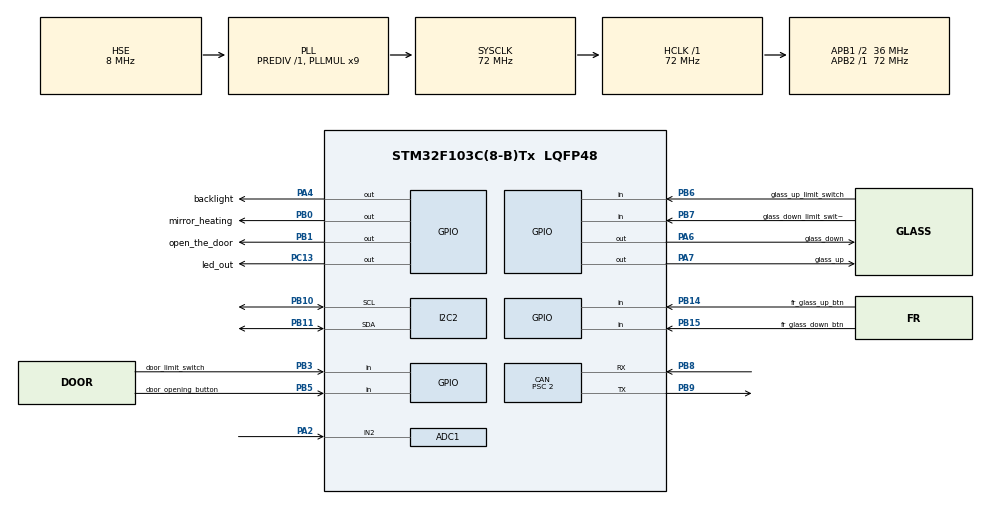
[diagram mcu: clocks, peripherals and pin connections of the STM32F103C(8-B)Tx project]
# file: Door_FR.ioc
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ADC1.Channel-1\#ChannelInjectedConversion=ADC_CHANNEL_2
ADC1.EnableInjectedConversion=ENABLE
ADC1.EnableRegularConversion=DISABLE
ADC1.InjNumberOfConversion=1
ADC1.InjectedOffset-1\#ChannelInjectedConversion=0
ADC1.InjectedRank-1\#ChannelInjectedConversion=1
ADC1.SamplingTime-1\#ChannelInjectedConversion=ADC_SAMPLETIME_239CYCLES_5
ADC1.master=1
CAN.BS1=CAN_BS1_15TQ
CAN.BS2=CAN_BS2_2TQ
CAN.CalculateBaudRate=1000000
CAN.CalculateTimeBit=1000
CAN.CalculateTimeQuantum=55.55555555555556
CAN.Mode=CAN_MODE_NORMAL
CAN.Prescaler=2
FREERTOS.INCLUDE_vTaskDelete=0
FREERTOS.Tasks01=defaultTask,0,128,StartDefaultTask,Default,NULL,Dynamic,NULL,NULL;Display,0,256,ProctDisplay,Default,NULL,Dynamic,NULL,NULL;ButtonRead,0,128,ProctButtonRead,Default,NULL,Dynamic,NULL,NULL;Outputs,-3,128,ProctOutputs,Default,NULL,Dynamic,NULL,NULL;Backlight,0,128,ProctBacklight,Default,NULL,Dynamic,NULL,NULL;FoldingMirrors,0,128,ProctFoldingMirrors,Default,NULL,Dynamic,NULL,NULL;Can,0,128,ProcCan,Default,NULL,Dynamic,NULL,NULL
FREERTOS.configGENERATE_RUN_TIME_STATS=1
FREERTOS.configMINIMAL_STACK_SIZE=128
FREERTOS.configTOTAL_HEAP_SIZE=10240
FREERTOS.configUSE_IDLE_HOOK=1
FREERTOS.configUSE_STATS_FORMATTING_FUNCTIONS=1
FREERTOS.configUSE_TRACE_FACILITY=1
I2C2.I2C_Mode=I2C_Fast
Mcu.Family=STM32F1
Mcu.Name=STM32F103C(8-B)Tx
Mcu.Package=LQFP48
NVIC.ADC1_2_IRQn=true\:5\:0\:false\:false\:true\:true\:true\:true\:true
NVIC.PriorityGroup=NVIC_PRIORITYGROUP_4
NVIC.TIM4_IRQn=true\:15\:0\:false\:false\:true\:false\:false\:true\:true
NVIC.TimeBase=TIM4_IRQn
NVIC.TimeBaseIP=TIM4
NVIC.USB_LP_CAN1_RX0_IRQn=true\:5\:0\:false\:false\:true\:true\:true\:true\:true
PA13.Mode=Serial_Wire
PA13.Signal=SYS_JTMS-SWDIO
PA14.Mode=Serial_Wire
PA14.Signal=SYS_JTCK-SWCLK
PA2.Signal=ADCx_IN2
PA4.GPIO_Label=backlight
PA4.GPIO_PuPd=GPIO_PULLDOWN
PA4.Signal=GPIO_Output
PA6.GPIO_Label=glass_down
PA6.GPIO_ModeDefaultOutputPP=GPIO_MODE_OUTPUT_PP
PA6.GPIO_PuPd=GPIO_PULLDOWN
PA6.GPIO_Speed=GPIO_SPEED_FREQ_LOW
PA6.PinState=GPIO_PIN_RESET
PA6.Signal=GPIO_Output
PA7.GPIO_Label=glass_up
PA7.GPIO_ModeDefaultOutputPP=GPIO_MODE_OUTPUT_PP
PA7.GPIO_PuPd=GPIO_PULLDOWN
PA7.GPIO_Speed=GPIO_SPEED_FREQ_LOW
PA7.PinState=GPIO_PIN_RESET
PA7.Signal=GPIO_Output
PB0.GPIO_Label=mirror_heating
PB0.GPIO_ModeDefaultOutputPP=GPIO_MODE_OUTPUT_PP
PB0.GPIO_PuPd=GPIO_PULLDOWN
PB0.GPIO_Speed=GPIO_SPEED_FREQ_LOW
PB0.PinState=GPIO_PIN_RESET
PB0.Signal=GPIO_Output
PB1.GPIO_Label=open_the_door
PB1.GPIO_ModeDefaultOutputPP=GPIO_MODE_OUTPUT_PP
PB1.GPIO_PuPd=GPIO_PULLDOWN
PB1.GPIO_Speed=GPIO_SPEED_FREQ_LOW
PB1.PinState=GPIO_PIN_RESET
PB1.Signal=GPIO_Output
PB10.Mode=I2C
PB10.Signal=I2C2_SCL
PB11.Mode=I2C
PB11.Signal=I2C2_SDA
PB14.GPIO_Label=fr_glass_up_btn
PB14.GPIO_PuPd=GPIO_PULLUP
PB14.Signal=GPIO_Input
PB15.GPIO_Label=fr_glass_down_btn
PB15.GPIO_PuPd=GPIO_PULLUP
PB15.Signal=GPIO_Input
PB3.GPIO_Label=door_limit_switch
PB3.GPIO_PuPd=GPIO_PULLUP
PB3.Signal=GPIO_Input
PB5.GPIO_Label=door_opening_button
PB5.GPIO_PuPd=GPIO_PULLUP
PB5.Signal=GPIO_Input
PB6.GPIO_Label=glass_up_limit_switch
PB6.GPIO_PuPd=GPIO_PULLUP
PB6.Signal=GPIO_Input
PB7.GPIO_Label=glass_down_limit_switch
PB7.GPIO_PuPd=GPIO_PULLUP
PB7.Signal=GPIO_Input
PB8.Mode=CAN_Activate
PB8.Signal=CAN_RX
PB9.Mode=CAN_Activate
PB9.Signal=CAN_TX
PC13-TAMPER-RTC.GPIO_Label=led_out
PC13-TAMPER-RTC.GPIO_PuPd=GPIO_PULLUP
PC13-TAMPER-RTC.PinState=GPIO_PIN_SET
PC13-TAMPER-RTC.Signal=GPIO_Output
PD0-OSC_IN.Mode=HSE-External-Oscillator
PD0-OSC_IN.Signal=RCC_OSC_IN
PD1-OSC_OUT.Mode=HSE-External-Oscillator
PD1-OSC_OUT.Signal=RCC_OSC_OUT
ProjectManager.HeapSize=0x200
ProjectManager.StackSize=0x400
ProjectManager.TargetToolchain=MDK-ARM V5.32
RCC.ADCPresc=RCC_ADCPCLK2_DIV6
RCC.AHBFreq_Value=72000000
RCC.APB1CLKDivider=RCC_HCLK_DIV2
RCC.APB1Freq_Value=36000000
RCC.APB1TimFreq_Value=72000000
RCC.APB2Freq_Value=72000000
RCC.APB2TimFreq_Value=72000000
RCC.HCLKFreq_Value=72000000
RCC.PLLMUL=RCC_PLL_MUL9
RCC.PLLSourceVirtual=RCC_PLLSOURCE_HSE
RCC.SYSCLKFreq_VALUE=72000000
RCC.SYSCLKSource=RCC_SYSCLKSOURCE_PLLCLK
RCC.USBFreq_Value=72000000
SH.ADCx_IN2.0=ADC1_IN2,IN2
VP_FREERTOS_VS_CMSIS_V1.Mode=CMSIS_V1
VP_SYS_VS_tim4.Mode=TIM4
board=custom

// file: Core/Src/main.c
/* USER CODE BEGIN Header */
/**
  ******************************************************************************
  * @file           : main.c
  * @brief          : Main program body
  ******************************************************************************
  * @attention
  *
  * Copyright (c) 2022 STMicroelectronics.
  * All rights reserved.
  *
  * This software is licensed under terms that can be found in the LICENSE file
  * in the root directory of this software component.
  * If no LICENSE file comes with this software, it is provided AS-IS.
  *
  ******************************************************************************
  */
/* USER CODE END Header */
#include "main.h"
#include "cmsis_os.h"

/* USER CODE BEGIN Includes */
#include <stdio.h>
#include <stdbool.h>
//#include "ssd1306.h"
#include "string.h"
/* USER CODE END Includes */

/* USER CODE BEGIN PD */
#define fr_motor_current 12

#define glass_Stop 0
#define glass_Up 1
#define glass_Down 2
#define glass_btn_time 15

//#define fr_glass_Stop 20
//#define fr_glass_Up 21
//#define fr_glass_Down 22

#define glass_closer_On 23
#define glass_closer_Ok 24

#define glass_blocking_On 25
#define glass_blocking_Off 26

//#define mirror_heating_On 21
//#define mirror_heating_Off 20

/* USER CODE END PD */

ADC_HandleTypeDef hadc1;

CAN_HandleTypeDef hcan;

I2C_HandleTypeDef hi2c2;

osThreadId defaultTaskHandle;
osThreadId DisplayHandle;
osThreadId ButtonReadHandle;
osThreadId OutputsHandle;
osThreadId BacklightHandle;
osThreadId FoldingMirrorsHandle;
osThreadId CanHandle;
/* USER CODE BEGIN PV */
CAN_TxHeaderTypeDef TxHeader;
CAN_RxHeaderTypeDef RxHeader;
uint8_t TxData[8] = {255, 255, 255,};
uint8_t RxData[8] = {255, 255, 255,};
uint32_t TxMailbox = 0;
#define can_addr_door_fl 0x0001
#define can_addr_door_fr 0x0002
bool Can_Rx = 0;

bool adc1_flag = 0;
float adc1_value = 0, current = 0;

uint8_t fr_glass = 0;

bool glass_blocking = 0, glass_closer_on = 0;
uint16_t fr_glass_btn_time = 0;
uint16_t btn_click_up = 0;
/* USER CODE END PV */

void SystemClock_Config(void);
static void MX_GPIO_Init(void);
static void MX_I2C2_Init(void);
static void MX_ADC1_Init(void);
static void MX_CAN_Init(void);
void StartDefaultTask(void const * argument);
void ProctDisplay(void const * argument);
void ProctButtonRead(void const * argument);
void ProctOutputs(void const * argument);
void ProctBacklight(void const * argument);
void ProctFoldingMirrors(void const * argument);
void ProcCan(void const * argument);

/* USER CODE BEGIN 0 */
void HAL_ADCEx_InjectedConvCpltCallback(ADC_HandleTypeDef *hadc) {
	if(hadc->Instance == ADC1){
		adc1_value = HAL_ADCEx_InjectedGetValue(&hadc1, ADC_INJECTED_RANK_1);
		current = (adc1_value*40.0f)/4095;
		adc1_flag = 1;
	}
}

void HAL_CAN_RxFifo0MsgPendingCallback(CAN_HandleTypeDef *hcan)
{
	if(HAL_CAN_GetRxMessage(hcan, CAN_RX_FIFO0, &RxHeader, RxData) == HAL_OK)
  {
		if(RxHeader.StdId == can_addr_door_fr) Can_Rx = 1;
	}
}

void HAL_CAN_ErrorCallback(CAN_HandleTypeDef *hcan)
{
    uint32_t er = HAL_CAN_GetError(hcan);
}
/* USER CODE END 0 */

int main(void)
{

  /* MCU Configuration--------------------------------------------------------*/

  /* Reset of all peripherals, Initializes the Flash interface and the Systick. */
  HAL_Init();

  /* Configure the system clock */
  SystemClock_Config();

  /* Initialize all configured peripherals */
  MX_GPIO_Init();
  MX_I2C2_Init();
  MX_ADC1_Init();
  MX_CAN_Init();
  /* USER CODE BEGIN 2 */
	HAL_ADCEx_Calibration_Start(&hadc1);
	HAL_ADCEx_InjectedStart_IT(&hadc1);

	TxHeader.StdId = can_addr_door_fl;
	TxHeader.ExtId = 0;
	TxHeader.RTR = CAN_RTR_DATA; //CAN_RTR_REMOTE
	TxHeader.IDE = CAN_ID_STD;   // CAN_ID_EXT
	TxHeader.DLC = 8;
	TxHeader.TransmitGlobalTime = 0;

	HAL_CAN_Start(&hcan);
	HAL_CAN_ActivateNotification(&hcan, CAN_IT_RX_FIFO0_MSG_PENDING | CAN_IT_ERROR | CAN_IT_BUSOFF | CAN_IT_LAST_ERROR_CODE);

	GPIOA->BRR = glass_up_Pin; // реле подьема стекла выкл
	GPIOA->BRR = glass_down_Pin; // реле подьема стекла выкл
	GPIOA->BRR = open_the_door_Pin; // реле открытия двери выкл
	GPIOA->BRR = mirror_heating_Pin; // реле обогрева зеркал выкл
  /* USER CODE END 2 */

  /* Create the thread(s) */
  /* definition and creation of defaultTask */
  osThreadDef(defaultTask, StartDefaultTask, osPriorityNormal, 0, 128);
  defaultTaskHandle = osThreadCreate(osThread(defaultTask), NULL);

  /* definition and creation of Display */
  osThreadDef(Display, ProctDisplay, osPriorityNormal, 0, 256);
  DisplayHandle = osThreadCreate(osThread(Display), NULL);

  /* definition and creation of ButtonRead */
  osThreadDef(ButtonRead, ProctButtonRead, osPriorityNormal, 0, 128);
  ButtonReadHandle = osThreadCreate(osThread(ButtonRead), NULL);

  /* definition and creation of Outputs */
  osThreadDef(Outputs, ProctOutputs, osPriorityIdle, 0, 128);
  OutputsHandle = osThreadCreate(osThread(Outputs), NULL);

  /* definition and creation of Backlight */
  osThreadDef(Backlight, ProctBacklight, osPriorityNormal, 0, 128);
  BacklightHandle = osThreadCreate(osThread(Backlight), NULL);

  /* definition and creation of FoldingMirrors */
  osThreadDef(FoldingMirrors, ProctFoldingMirrors, osPriorityNormal, 0, 128);
  FoldingMirrorsHandle = osThreadCreate(osThread(FoldingMirrors), NULL);

  /* definition and creation of Can */
  osThreadDef(Can, ProcCan, osPriorityNormal, 0, 128);
  CanHandle = osThreadCreate(osThread(Can), NULL);

  /* Start scheduler */
  osKernelStart();

  /* We should never get here as control is now taken by the scheduler */
  /* Infinite loop */
  while (1)
  {

  }
}

void SystemClock_Config(void)
{
  RCC_OscInitTypeDef RCC_OscInitStruct = {0};
  RCC_ClkInitTypeDef RCC_ClkInitStruct = {0};
  RCC_PeriphCLKInitTypeDef PeriphClkInit = {0};

  /** Initializes the RCC Oscillators according to the specified parameters
  * in the RCC_OscInitTypeDef structure.
  */
  RCC_OscInitStruct.OscillatorType = RCC_OSCILLATORTYPE_HSE;
  RCC_OscInitStruct.HSEState = RCC_HSE_ON;
  RCC_OscInitStruct.HSEPredivValue = RCC_HSE_PREDIV_DIV1;
  RCC_OscInitStruct.HSIState = RCC_HSI_ON;
  RCC_OscInitStruct.PLL.PLLState = RCC_PLL_ON;
  RCC_OscInitStruct.PLL.PLLSource = RCC_PLLSOURCE_HSE;
  RCC_OscInitStruct.PLL.PLLMUL = RCC_PLL_MUL9;
  if (HAL_RCC_OscConfig(&RCC_OscInitStruct) != HAL_OK)
  {
    Error_Handler();
  }

  /** Initializes the CPU, AHB and APB buses clocks
  */
  RCC_ClkInitStruct.ClockType = RCC_CLOCKTYPE_HCLK|RCC_CLOCKTYPE_SYSCLK
                              |RCC_CLOCKTYPE_PCLK1|RCC_CLOCKTYPE_PCLK2;
  RCC_ClkInitStruct.SYSCLKSource = RCC_SYSCLKSOURCE_PLLCLK;
  RCC_ClkInitStruct.AHBCLKDivider = RCC_SYSCLK_DIV1;
  RCC_ClkInitStruct.APB1CLKDivider = RCC_HCLK_DIV2;
  RCC_ClkInitStruct.APB2CLKDivider = RCC_HCLK_DIV1;

  if (HAL_RCC_ClockConfig(&RCC_ClkInitStruct, FLASH_LATENCY_2) != HAL_OK)
  {
    Error_Handler();
  }
  PeriphClkInit.PeriphClockSelection = RCC_PERIPHCLK_ADC;
  PeriphClkInit.AdcClockSelection = RCC_ADCPCLK2_DIV6;
  if (HAL_RCCEx_PeriphCLKConfig(&PeriphClkInit) != HAL_OK)
  {
    Error_Handler();
  }
}

static void MX_ADC1_Init(void)
{

  ADC_InjectionConfTypeDef sConfigInjected = {0};

  /** Common config
  */
  hadc1.Instance = ADC1;
  hadc1.Init.ScanConvMode = ADC_SCAN_DISABLE;
  hadc1.Init.ContinuousConvMode = DISABLE;
  hadc1.Init.DiscontinuousConvMode = DISABLE;
  hadc1.Init.ExternalTrigConv = ADC_SOFTWARE_START;
  hadc1.Init.DataAlign = ADC_DATAALIGN_RIGHT;
  hadc1.Init.NbrOfConversion = 1;
  if (HAL_ADC_Init(&hadc1) != HAL_OK)
  {
    Error_Handler();
  }

  /** Configure Injected Channel
  */
  sConfigInjected.InjectedChannel = ADC_CHANNEL_2;
  sConfigInjected.InjectedRank = ADC_INJECTED_RANK_1;
  sConfigInjected.InjectedNbrOfConversion = 1;
  sConfigInjected.InjectedSamplingTime = ADC_SAMPLETIME_239CYCLES_5;
  sConfigInjected.ExternalTrigInjecConv = ADC_INJECTED_SOFTWARE_START;
  sConfigInjected.AutoInjectedConv = DISABLE;
  sConfigInjected.InjectedDiscontinuousConvMode = DISABLE;
  sConfigInjected.InjectedOffset = 0;
  if (HAL_ADCEx_InjectedConfigChannel(&hadc1, &sConfigInjected) != HAL_OK)
  {
    Error_Handler();
  }

}

static void MX_CAN_Init(void)
{

  /* USER CODE BEGIN CAN_Init 0 */
	CAN_FilterTypeDef  sFilterConfig;
  /* USER CODE END CAN_Init 0 */

  hcan.Instance = CAN1;
  hcan.Init.Prescaler = 2;
  hcan.Init.Mode = CAN_MODE_NORMAL;
  hcan.Init.SyncJumpWidth = CAN_SJW_1TQ;
  hcan.Init.TimeSeg1 = CAN_BS1_15TQ;
  hcan.Init.TimeSeg2 = CAN_BS2_2TQ;
  hcan.Init.TimeTriggeredMode = DISABLE;
  hcan.Init.AutoBusOff = DISABLE;
  hcan.Init.AutoWakeUp = DISABLE;
  hcan.Init.AutoRetransmission = DISABLE;
  hcan.Init.ReceiveFifoLocked = DISABLE;
  hcan.Init.TransmitFifoPriority = DISABLE;
  if (HAL_CAN_Init(&hcan) != HAL_OK)
  {
    Error_Handler();
  }
  /* USER CODE BEGIN CAN_Init 2 */
	sFilterConfig.FilterBank = 0;
	sFilterConfig.FilterMode = CAN_FILTERMODE_IDMASK;
	sFilterConfig.FilterScale = CAN_FILTERSCALE_32BIT;
	sFilterConfig.FilterIdHigh = 0x0000;
	sFilterConfig.FilterIdLow = 0x0000;
	sFilterConfig.FilterMaskIdHigh = 0x0000;
	sFilterConfig.FilterMaskIdLow = 0x0000;
	sFilterConfig.FilterFIFOAssignment = CAN_RX_FIFO0;
	sFilterConfig.FilterActivation = ENABLE;
	//sFilterConfig.SlaveStartFilterBank = 14;

	if(HAL_CAN_ConfigFilter(&hcan, &sFilterConfig) != HAL_OK)
	{
	Error_Handler();
	}
  /* USER CODE END CAN_Init 2 */

}

static void MX_I2C2_Init(void)
{

  hi2c2.Instance = I2C2;
  hi2c2.Init.ClockSpeed = 400000;
  hi2c2.Init.DutyCycle = I2C_DUTYCYCLE_2;
  hi2c2.Init.OwnAddress1 = 0;
  hi2c2.Init.AddressingMode = I2C_ADDRESSINGMODE_7BIT;
  hi2c2.Init.DualAddressMode = I2C_DUALADDRESS_DISABLE;
  hi2c2.Init.OwnAddress2 = 0;
  hi2c2.Init.GeneralCallMode = I2C_GENERALCALL_DISABLE;
  hi2c2.Init.NoStretchMode = I2C_NOSTRETCH_DISABLE;
  if (HAL_I2C_Init(&hi2c2) != HAL_OK)
  {
    Error_Handler();
  }

}

static void MX_GPIO_Init(void)
{
  GPIO_InitTypeDef GPIO_InitStruct = {0};

  /* GPIO Ports Clock Enable */
  __HAL_RCC_GPIOC_CLK_ENABLE();
  __HAL_RCC_GPIOD_CLK_ENABLE();
  __HAL_RCC_GPIOA_CLK_ENABLE();
  __HAL_RCC_GPIOB_CLK_ENABLE();

  /*Configure GPIO pin Output Level */
  HAL_GPIO_WritePin(led_out_GPIO_Port, led_out_Pin, GPIO_PIN_SET);

  /*Configure GPIO pin Output Level */
  HAL_GPIO_WritePin(GPIOA, backlight_Pin|glass_down_Pin|glass_up_Pin, GPIO_PIN_RESET);

  /*Configure GPIO pin Output Level */
  HAL_GPIO_WritePin(GPIOB, mirror_heating_Pin|open_the_door_Pin, GPIO_PIN_RESET);

  /*Configure GPIO pin : led_out_Pin */
  GPIO_InitStruct.Pin = led_out_Pin;
  GPIO_InitStruct.Mode = GPIO_MODE_OUTPUT_PP;
  GPIO_InitStruct.Pull = GPIO_PULLUP;
  GPIO_InitStruct.Speed = GPIO_SPEED_FREQ_LOW;
  HAL_GPIO_Init(led_out_GPIO_Port, &GPIO_InitStruct);

  /*Configure GPIO pins : backlight_Pin glass_down_Pin glass_up_Pin */
  GPIO_InitStruct.Pin = backlight_Pin|glass_down_Pin|glass_up_Pin;
  GPIO_InitStruct.Mode = GPIO_MODE_OUTPUT_PP;
  GPIO_InitStruct.Pull = GPIO_PULLDOWN;
  GPIO_InitStruct.Speed = GPIO_SPEED_FREQ_LOW;
  HAL_GPIO_Init(GPIOA, &GPIO_InitStruct);

  /*Configure GPIO pins : mirror_heating_Pin open_the_door_Pin */
  GPIO_InitStruct.Pin = mirror_heating_Pin|open_the_door_Pin;
  GPIO_InitStruct.Mode = GPIO_MODE_OUTPUT_PP;
  GPIO_InitStruct.Pull = GPIO_PULLDOWN;
  GPIO_InitStruct.Speed = GPIO_SPEED_FREQ_LOW;
  HAL_GPIO_Init(GPIOB, &GPIO_InitStruct);

  /*Configure GPIO pins : fr_glass_up_btn_Pin fr_glass_down_btn_Pin door_limit_switch_Pin door_opening_button_Pin
                           glass_up_limit_switch_Pin glass_down_limit_switch_Pin */
  GPIO_InitStruct.Pin = fr_glass_up_btn_Pin|fr_glass_down_btn_Pin|door_limit_switch_Pin|door_opening_button_Pin
                          |glass_up_limit_switch_Pin|glass_down_limit_switch_Pin;
  GPIO_InitStruct.Mode = GPIO_MODE_INPUT;
  GPIO_InitStruct.Pull = GPIO_PULLUP;
  HAL_GPIO_Init(GPIOB, &GPIO_InitStruct);

}

/* USER CODE BEGIN 4 */
void glass_stop()
{
	GPIOA->BRR = glass_up_Pin; // реле подьема стекла выкл
	GPIOA->BRR = glass_down_Pin; // реле опускания стекла выкл
	fr_glass = glass_Stop;
	RxData[0] = 255; //
	TxData[0] = 255; //
}
void glass_up()
{
	GPIOA->BSRR = glass_up_Pin; // реле подьема стекла вкл
	GPIOA->BRR = glass_down_Pin; // реле опускания стекла выкл
	fr_glass = glass_Up;
	RxData[0] = 255; //
	TxData[0] = 255; //
}
void glass_down()
{
	GPIOA->BRR = glass_up_Pin; // реле подьема стекла выкл
	GPIOA->BSRR = glass_down_Pin; // реле опускания стекла вкл
	fr_glass = glass_Down;
	RxData[0] = 255; //
	TxData[0] = 255; //
}
void glass_closer()
{
	glass_closer_on = 1;
	GPIOA->BSRR = glass_up_Pin; // реле подьема стекла вкл
	GPIOA->BRR = glass_down_Pin; // реле опускания стекла выкл
	fr_glass = glass_Up;
	RxData[0] = 255; //
	TxData[0] = 255; //
}
void glass_bloking_on()
{
	glass_blocking = 1;
	glass_stop();
	RxData[0] = 255; //
	TxData[0] = 255; //
}
void glass_bloking_off()
{
	glass_blocking = 0;
	RxData[0] = 255; //
	TxData[0] = 255; //
}
void mirror_heating_on()
{
	GPIOB->BSRR = mirror_heating_Pin;
	RxData[2] = 255; //
	TxData[2] = 255; //
}
void mirror_heating_off()
{
	GPIOB->BRR = mirror_heating_Pin;
	RxData[2] = 255; //
	TxData[2] = 255; //
}
/* USER CODE END 4 */

void StartDefaultTask(void const * argument)
{
  /* USER CODE BEGIN 5 */
  /* Infinite loop */
  for(;;)
  {
		if (adc1_flag) {
			adc1_flag = 0;
			HAL_ADCEx_InjectedStart_IT(&hadc1);
		}
    osDelay(10);
  }
  /* USER CODE END 5 */
}

void ProctDisplay(void const * argument)
{
  for(;;)
  {
		osDelay(1);
  }
}

void ProctButtonRead(void const * argument)
{
  /* USER CODE BEGIN ProctButtonRead */
  /* Infinite loop */
  for(;;)
  {
		if(!glass_blocking && !Can_Rx && !glass_closer_on){ //
			if( !(GPIOB->IDR &fr_glass_up_btn_Pin) ){ // кнопка подьема стекла
				if(!fr_glass){
					fr_glass_btn_time = 0;
					glass_up();
				}
				fr_glass_btn_time++;
			}
			else {
				if(fr_glass == glass_Up && fr_glass_btn_time>glass_btn_time) glass_stop();
			}

			if( !(GPIOB->IDR &fr_glass_down_btn_Pin) ) { // кнопка опускания стекла
				if(!fr_glass){
					fr_glass_btn_time = 0;
					glass_down();
				}
				fr_glass_btn_time++;
			}
			else {
				if(fr_glass == glass_Down && fr_glass_btn_time>glass_btn_time) glass_stop();
			}
		}

	if((GPIOA->IDR &glass_up_Pin || GPIOA->IDR &glass_down_Pin ) && current>fr_motor_current){ // отключение п току
			osDelay(200);
			if(current>fr_motor_current){
				glass_stop();
				if(glass_closer_on){
					TxHeader.StdId = can_addr_door_fl;
					TxData[0] = glass_closer_Ok; //
					while(HAL_CAN_GetTxMailboxesFreeLevel(&hcan) == 0);
					if(HAL_CAN_AddTxMessage(&hcan, &TxHeader, TxData, &TxMailbox) != HAL_OK)
					{
				//		HAL_UART_Transmit(&huart1, (uint8_t*)"ER SEND\n", 8, 100);
					}
					RxData[0] = 255; //
					TxData[0] = 255; //
					glass_closer_on = 0;
				}
				osDelay(400);
			}
		}
		osDelay(1);
  }
  /* USER CODE END ProctButtonRead */
}

void ProctOutputs(void const * argument)
{
  for(;;)
  {
	  osDelay(1);
  }
}

void ProctBacklight(void const * argument)
{
  /* USER CODE BEGIN ProctBacklight */
  /* Infinite loop */
  for(;;)
  {
		if( !(GPIOB->IDR &door_limit_switch_Pin) ) { // концевик двери
			if(!(GPIOA->IDR &backlight_Pin)) GPIOA->BSRR = backlight_Pin; // выход uln2003a на подсветку
		}
		else 	if(GPIOA->IDR &backlight_Pin) GPIOA->BRR = backlight_Pin; // выход uln2003a на подсветку

		if( !(GPIOB->IDR &door_opening_button_Pin) ) { // кнопка открытия двери
			GPIOA->BSRR = open_the_door_Pin; // выход uln2003a на мотор открытия двери
			osDelay(1000);
			GPIOA->BRR = open_the_door_Pin; // выход uln2003a на мотор открытия двери
		}

    osDelay(100);
  }
  /* USER CODE END ProctBacklight */
}

void ProctFoldingMirrors(void const * argument)
{
  for(;;)
  {
    osDelay(1);
  }
}

void ProcCan(void const * argument)
{
  /* USER CODE BEGIN ProcCan */
  /* Infinite loop */
  for(;;)
  {
		if(Can_Rx){
			switch (RxData[0])
			{
				case 20: glass_stop();
					break;
				case 21: glass_up();
					break;
				case 22: glass_down();
					break;
				case glass_closer_On: glass_closer();
					break;
				case glass_blocking_On: glass_bloking_on();
					break;
				case glass_blocking_Off: glass_bloking_off();
					break;
				default:
					break;
			}
			switch (RxData[2])
			{
				case 20: mirror_heating_off();
					break;
				case 21: mirror_heating_on();
					break;
				default:
					break;
			}
			Can_Rx = 0;
		}
    osDelay(1);
  }
  /* USER CODE END ProcCan */
}

void HAL_TIM_PeriodElapsedCallback(TIM_HandleTypeDef *htim)
{
  if (htim->Instance == TIM4) {
    HAL_IncTick();
  }
}

void Error_Handler(void)
{
  __disable_irq();
  while (1)
  {
  }
}

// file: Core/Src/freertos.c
/* USER CODE BEGIN Header */
/**
  ******************************************************************************
  * File Name          : freertos.c
  * Description        : Code for freertos applications
  ******************************************************************************
  * @attention
  *
  * Copyright (c) 2022 STMicroelectronics.
  * All rights reserved.
  *
  * This software is licensed under terms that can be found in the LICENSE file
  * in the root directory of this software component.
  * If no LICENSE file comes with this software, it is provided AS-IS.
  *
  ******************************************************************************
  */
/* USER CODE END Header */

#include "FreeRTOS.h"
#include "task.h"
#include "main.h"

/* GetIdleTaskMemory prototype (linked to static allocation support) */
void vApplicationGetIdleTaskMemory( StaticTask_t **ppxIdleTaskTCBBuffer, StackType_t **ppxIdleTaskStackBuffer, uint32_t *pulIdleTaskStackSize );

/* Hook prototypes */
void configureTimerForRunTimeStats(void);
unsigned long getRunTimeCounterValue(void);
void vApplicationIdleHook(void);

/* USER CODE BEGIN 1 */
/* Functions needed when configGENERATE_RUN_TIME_STATS is on */
__weak void configureTimerForRunTimeStats(void)
{

}

__weak unsigned long getRunTimeCounterValue(void)
{
return 0;
}
/* USER CODE END 1 */

/* USER CODE BEGIN 2 */
__weak void vApplicationIdleHook( void )
{
   /* vApplicationIdleHook() will only be called if configUSE_IDLE_HOOK is set
   to 1 in FreeRTOSConfig.h. It will be called on each iteration of the idle
   task. It is essential that code added to this hook function never attempts
   to block in any way (for example, call xQueueReceive() with a block time
   specified, or call vTaskDelay()). If the application makes use of the
   vTaskDelete() API function (as this demo application does) then it is also
   important that vApplicationIdleHook() is permitted to return to its calling
   function, because it is the responsibility of the idle task to clean up
   memory allocated by the kernel to any task that has since been deleted. */
}
/* USER CODE END 2 */

/* USER CODE BEGIN GET_IDLE_TASK_MEMORY */
static StaticTask_t xIdleTaskTCBBuffer;
static StackType_t xIdleStack[configMINIMAL_STACK_SIZE];

void vApplicationGetIdleTaskMemory( StaticTask_t **ppxIdleTaskTCBBuffer, StackType_t **ppxIdleTaskStackBuffer, uint32_t *pulIdleTaskStackSize )
{
  *ppxIdleTaskTCBBuffer = &xIdleTaskTCBBuffer;
  *ppxIdleTaskStackBuffer = &xIdleStack[0];
  *pulIdleTaskStackSize = configMINIMAL_STACK_SIZE;
  /* place for user code */
}
/* USER CODE END GET_IDLE_TASK_MEMORY */
